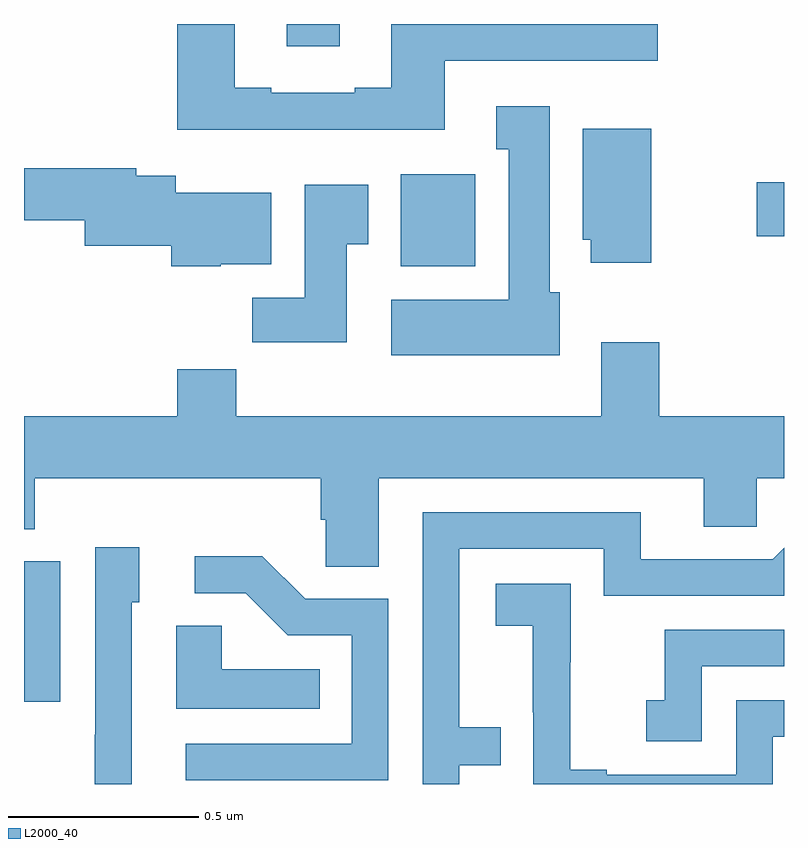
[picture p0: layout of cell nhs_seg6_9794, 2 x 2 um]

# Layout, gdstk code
import gdstk
lib = gdstk.Library(unit=1e-6, precision=1e-09)
def R(c, l, rs):  # rectangles x0, y0, x1, y1
    for r in rs: c.add(gdstk.rectangle(r[:2], r[2:], *l))
def P(c, l, *ps):  # polygons
    for p in ps: c.add(gdstk.Polygon(p, *l))
L2000_40 = (2000, 40)

nhs_seg6_9794 = lib.new_cell('nhs_seg6_9794')
R(nhs_seg6_9794, L2000_40, [(238,978.717,238.095,979.086), (238.991,979.862,239.188,980.104), (239.928,979.942,240,980.084), (238.691,980.442,238.831,980.5)])
P(nhs_seg6_9794, L2000_40, [(239.107,980.403),(239.668,980.403),(239.668,980.5),(238.967,980.5),(238.967,980.332),(238.871,980.332),(238.871,980.319),(238.651,980.319),(238.651,980.332),(238.555,980.332),(238.555,980.5),(238.403,980.5),(238.403,980.222),(239.107,980.222)],
  [(239.41,979.794),(239.383,979.794),(239.383,980.284),(239.243,980.284),(239.243,980.171),(239.276,980.171),(239.276,979.774),(238.967,979.774),(238.967,979.628),(239.41,979.628)],
  [(239.65,980.224),(239.471,980.224),(239.471,979.932),(239.492,979.932),(239.492,979.872),(239.65,979.872)],
  [(238.518,979.868),(238.651,979.868),(238.651,980.056),(238.399,980.056),(238.399,980.101),(238.295,980.101),(238.295,980.12),(238,980.12),(238,979.984),(238.16,979.984),(238.16,979.916),(238.388,979.916),(238.388,979.862),(238.518,979.862)],
  [(238.849,979.921),(238.906,979.921),(238.906,980.077),(238.739,980.077),(238.739,979.78),(238.6,979.78),(238.6,979.662),(238.849,979.662)],
  [(238.933,979.304),(239.789,979.304),(239.789,979.177),(239.928,979.177),(239.928,979.304),(240,979.304),(240,979.468),(239.672,979.468),(239.672,979.663),(239.519,979.663),(239.519,979.468),(238.559,979.468),(238.559,979.592),(238.403,979.592),(238.403,979.468),(238,979.468),(238,979.171),(238.028,979.171),(238.028,979.304),(238.781,979.304),(238.781,979.195),(238.794,979.195),(238.794,979.072),(238.933,979.072)],
  [(239.145,978.549),(239.255,978.549),(239.255,978.65),(239.145,978.65),(239.145,979.119),(239.526,979.119),(239.526,978.996),(240,978.996),(240,979.122),(239.97,979.092),(239.623,979.092),(239.623,979.215),(239.049,979.215),(239.049,978.5),(239.145,978.5)],
  [(238.284,978.978),(238.303,978.978),(238.303,979.123),(238.188,979.123),(238.188,978.629),(238.186,978.629),(238.186,978.5),(238.284,978.5)],
  [(238.959,978.987),(238.74,978.987),(238.627,979.1),(238.449,979.1),(238.449,979.002),(238.583,979.002),(238.694,978.891),(238.863,978.891),(238.863,978.606),(238.425,978.606),(238.425,978.51),(238.959,978.51)],
  [(239.97,978.624),(240,978.624),(240,978.72),(239.874,978.72),(239.874,978.525),(239.533,978.525),(239.533,978.538),(239.438,978.538),(239.438,978.821),(239.439,978.821),(239.439,979.027),(239.241,979.027),(239.241,978.917),(239.339,978.917),(239.339,978.689),(239.34,978.689),(239.34,978.5),(239.97,978.5)],
  [(238.778,978.802),(238.521,978.802),(238.521,978.917),(238.4,978.917),(238.4,978.698),(238.778,978.698)],
  [(239.784,978.81),(240,978.81),(240,978.906),(239.686,978.906),(239.686,978.721),(239.637,978.721),(239.637,978.612),(239.784,978.612)])

lib.write_gds('nhs_seg6_9794.gds')
